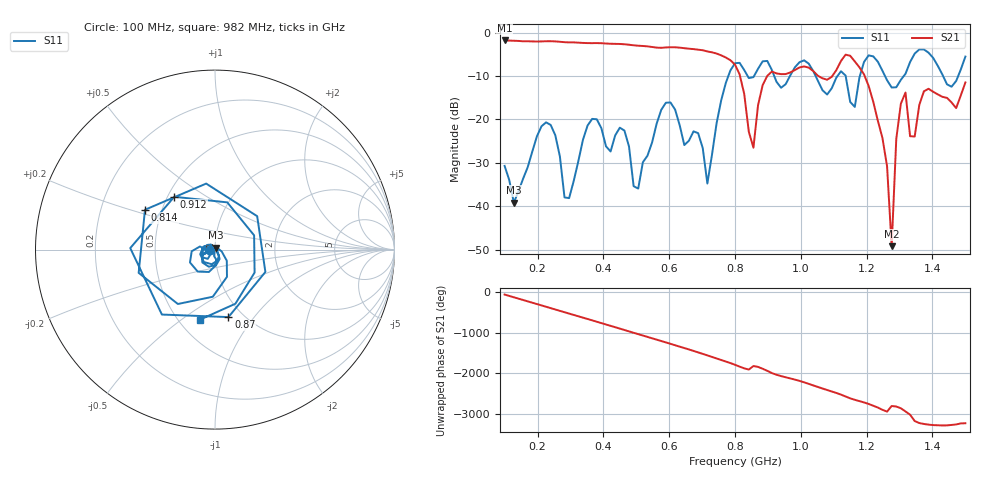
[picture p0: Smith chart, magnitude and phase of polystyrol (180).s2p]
! NanoVNA-App
! Date: 2025-09-25 15:31:17
! Start: 100MHz Stop: 1,5GHz Points: 101
! S-Parameter data: F S11 S21 S12 S22
# Hz S RI R 50
!  Frequency  S11_Real  S11_Imag  S21_Real  S21_Imag  S12_Real  S12_Imag  S22_Real  S22_Imag
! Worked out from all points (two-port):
!   101 points, 100 MHz to 1.5 GHz, reference 50 ohm
!   highest |S21| = -1.80 dB at 100 MHz (marker M1); lowest = -49.2 dB at 1.276 GHz (marker M2)
!   |S21| within 3 dB of the highest: start of sweep to 743.3 MHz
!   lowest |S11| = -39.1 dB at 128 MHz (marker M3), VSWR 1.02, Z = 50.3 + j1.06 ohm
!   |S11| at or under -10 dB: start of sweep to 779.7 MHz; 1.045 GHz to 1.111 GHz (66.33 MHz wide, 6.15 % of centre); 1.256 GHz to 1.313 GHz (56.91 MHz wide, 4.43 % of centre)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
!   S12 and S22 are empty: the file has one direction only
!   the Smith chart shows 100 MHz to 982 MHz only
!   S11 on the Smith chart (normalised r, x): 100 MHz: 0.94, -0.01; 814 MHz: 0.40, +0.22; 870 MHz: 0.86, -0.75; 912 MHz: 0.54, +0.37; 982 MHz: 0.63, -0.59
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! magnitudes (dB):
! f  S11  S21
! 100 MHz  -30.7  -1.8
! 128 MHz  -39.1  -1.9
! 212 MHz  -21.6  -2.0
! 282 MHz  -38.0  -2.2
! 338 MHz  -24.7  -2.4
! 464 MHz  -22.6  -2.7
! 506 MHz  -35.9  -3.0
! 576 MHz  -17.8  -3.5
! 716 MHz  -34.8  -4.3
! 800 MHz  -7.0  -7.4
! 814 MHz  -7.0  -9.6
! 856 MHz  -10.3  -26.5
! 870 MHz  -8.3  -16.7
! 912 MHz  -8.6  -9.0
! 982 MHz  -8.0  -8.6
! 1.038 GHz  -8.9  -8.9
! 1.192 GHz  -6.7  -9.6
! 1.262 GHz  -11.0  -30.8
! 1.276 GHz  -12.6  -49.2
! 1.29 GHz  -12.6  -24.5
! 1.318 GHz  -9.5  -13.8
! 1.5 GHz  -5.5  -11.5
